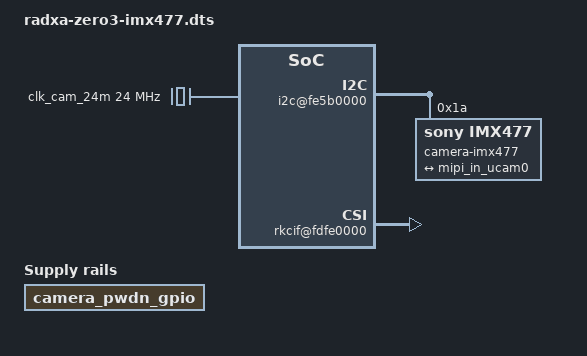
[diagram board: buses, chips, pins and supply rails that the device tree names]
/dts-v1/;
/plugin/;

/ {
        metadata {
                title = "Enable Raspberry Pi HQ Camera (IMX477)";
                compatible = "radxa,zero3w", "radxa,zero3";
                category = "camera";
                exclusive = "csi2_dphy0";
                description = "Enable Raspberry Pi HQ Camera IMX477.";
        };

        fragment@0 {
                target-path = "/";

                __overlay__ {

                        clk_cam_24m: external-camera-clock-24m {
                                status = "okay";
                                compatible = "fixed-clock";
                                clock-frequency = <0x16e3600>;
                                clock-output-names = "clk_cam_24m";
                                #clock-cells = <0x00>;
                        };

                        camera-pwdn-gpio {
                                status = "okay";
                                compatible = "regulator-fixed";
                                regulator-name = "camera_pwdn_gpio";
                                regulator-always-on;
                                regulator-boot-on;
                                enable-active-high;
                                /* gpio3 phandle=0x7f, GPIO3_C6=pin 22=0x16 */
                                gpio = <0x7f 0x16 0x00>;
                        };
                };
        };

        /* i2c2 = /i2c@fe5b0000 */
        fragment@1 {
                target-path = "/i2c@fe5b0000";

                __overlay__ {
                        status = "okay";
                        pinctrl-names = "default";
                        pinctrl-0 = <0x22d>;
                        #address-cells = <0x01>;
                        #size-cells = <0x00>;

                        camera-imx477@1a {
                                status = "okay";
                                compatible = "sony,imx477";
                                reg = <0x1a>;
                                clocks = <&clk_cam_24m>;
                                clock-names = "xvclk";
                                rockchip,camera-module-index = <0x00>;
                                rockchip,camera-module-facing = "back";
                                rockchip,camera-module-name = "rpi-camera-hq";
                                rockchip,camera-module-lens-name = "default";

                                port {
                                        ucam_out0: endpoint {
                                                remote-endpoint = <&mipi_in_ucam0>;
                                                data-lanes = <0x01 0x02>;
                                        };
                                };
                        };
                };
        };

        /* csi2_dphy_hw = /csi2-dphy-hw@fe870000 */
        fragment@2 {
                target-path = "/csi2-dphy-hw@fe870000";

                __overlay__ {
                        status = "okay";
                };
        };

        /* csi2_dphy0 = /csi2-dphy0 */
        fragment@3 {
                target-path = "/csi2-dphy0";

                __overlay__ {
                        status = "okay";

                        ports {
                                #address-cells = <0x01>;
                                #size-cells = <0x00>;

                                port@0 {
                                        reg = <0x00>;
                                        #address-cells = <0x01>;
                                        #size-cells = <0x00>;

                                        mipi_in_ucam0: endpoint@1 {
                                                reg = <0x01>;
                                                remote-endpoint = <&ucam_out0>;
                                                data-lanes = <0x01 0x02>;
                                        };
                                };

                                port@1 {
                                        reg = <0x01>;
                                        #address-cells = <0x01>;
                                        #size-cells = <0x00>;

                                        dphy0_out: endpoint@1 {
                                                reg = <0x01>;
                                                remote-endpoint = <&isp0_in>;
                                        };
                                };
                        };
                };
        };

        /* rkisp_vir0 = /rkisp-vir0 */
        fragment@4 {
                target-path = "/rkisp-vir0";

                __overlay__ {
                        status = "okay";

                        port {
                                #address-cells = <0x01>;
                                #size-cells = <0x00>;

                                isp0_in: endpoint@0 {
                                        reg = <0x00>;
                                        remote-endpoint = <&dphy0_out>;
                                };
                        };
                };
        };

        /* rkisp = /rkisp@fdff0000 */
        fragment@5 {
                target-path = "/rkisp@fdff0000";
                __overlay__ {
                        status = "okay";
                };
        };

        /* rkisp_mmu = /iommu@fdff1a00 */
        fragment@6 {
                target-path = "/iommu@fdff1a00";
                __overlay__ {
                        status = "okay";
                };
        };

        /* rkcif_mmu = /iommu@fdfe0800 */
        fragment@7 {
                target-path = "/iommu@fdfe0800";
                __overlay__ {
                        status = "okay";
                };
        };

        /* rkcif = /rkcif@fdfe0000 */
        fragment@8 {
                target-path = "/rkcif@fdfe0000";
                __overlay__ {
                        status = "okay";
                };
        };
};
